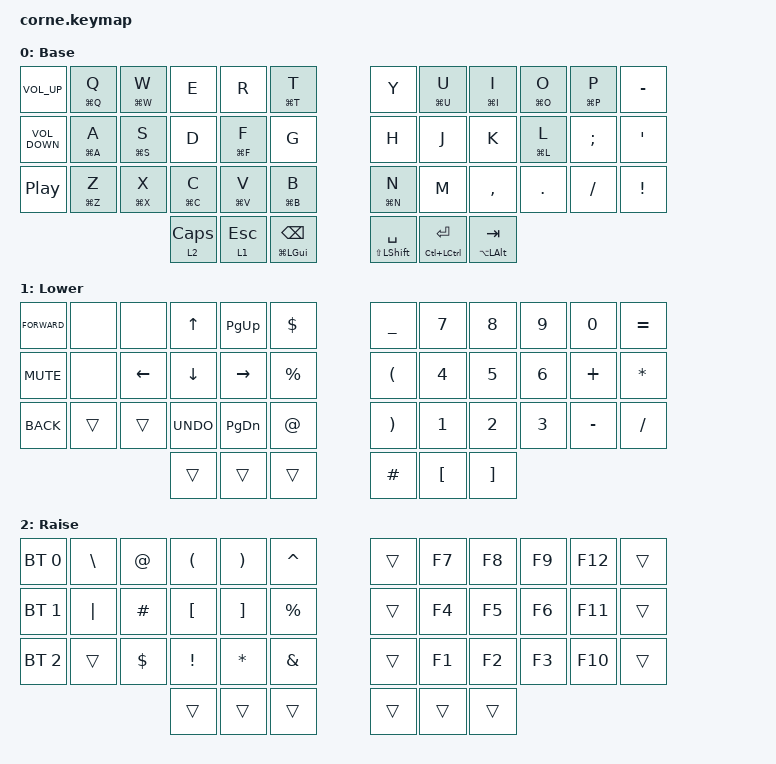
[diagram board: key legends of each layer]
#include <behaviors.dtsi>
#include <dt-bindings/zmk/bt.h>
#include <dt-bindings/zmk/keys.h>

/ {
    behaviors {
        longpress: longpress {
            compatible = "zmk,behavior-hold-tap";
            label = "LONGPRESS";
            bindings = <&kp>, <&kp>;

            #binding-cells = <2>;
            tapping-term-ms = <500>;
            flavor = "tap-preferred";
        };
    };

    keymap {
        compatible = "zmk,keymap";

        default_layer {
            display-name = "Base";
            bindings = <
&kp C_VOLUME_UP    &mt LG(Q) Q  &mt LG(W) W  &kp E        &kp R         &mt LG(T) T                   &kp Y                            &mt LG(U) U                 &mt LG(I) I           &mt LG(O) O  &mt LG(P) P  &kp MINUS
&kp C_VOLUME_DOWN  &mt LG(A) A  &mt LG(S) S  &kp D        &mt LG(F) F   &kp G                         &kp H                            &kp J                       &kp K                 &mt LG(L) L  &kp SEMI     &kp SQT
&kp C_PLAY_PAUSE   &mt LG(Z) Z  &mt LG(X) X  &mt LG(C) C  &mt LG(V) V   &mt LG(B) B                   &mt LG(N) N                      &kp M                       &kp COMMA             &kp DOT      &kp FSLH     &kp EXCLAMATION
                                             &lt 2 CAPS   &lt 1 ESCAPE  &mt LG(LEFT_GUI) BACKSPACE    &longpress LS(LEFT_SHIFT) SPACE  &mt LC(LEFT_CONTROL) ENTER  &mt LA(LEFT_ALT) TAB
            >;
        };

        lower_layer {
            display-name = "Lower";
            bindings = <
&kp K_FORWARD  &none   &none           &kp UP_ARROW  &kp PAGE_UP    &kp DLLR       &kp UNDER              &kp N7            &kp N8             &kp N9        &kp N0     &kp EQUAL
&kp K_MUTE     &none   &kp LEFT_ARROW  &kp DOWN      &kp RIGHT      &kp PERCENT    &kp LEFT_PARENTHESIS   &kp NUMBER_4      &kp NUMBER_5       &kp NUMBER_6  &kp PLUS   &kp ASTERISK
&kp K_BACK     &trans  &trans          &kp K_UNDO    &kp PAGE_DOWN  &kp AT         &kp RIGHT_PARENTHESIS  &kp N1            &kp NUMBER_2       &kp NUMBER_3  &kp MINUS  &kp SLASH
                                       &trans        &trans         &trans         &kp HASH               &kp LEFT_BRACKET  &kp RIGHT_BRACKET
            >;
        };

        raise_layer {
            display-name = "Raise";
            bindings = <
&bt BT_SEL 0  &kp BACKSLASH  &kp AT      &kp LEFT_PARENTHESIS  &kp RIGHT_PARENTHESIS  &kp CARET        &trans  &kp F7  &kp F8  &kp F9  &kp F12  &trans
&bt BT_SEL 1  &kp PIPE       &kp HASH    &kp LEFT_BRACKET      &kp RIGHT_BRACKET      &kp PERCENT      &trans  &kp F4  &kp F5  &kp F6  &kp F11  &trans
&bt BT_SEL 2  &trans         &kp DOLLAR  &kp EXCLAMATION       &kp ASTERISK           &kp AMPERSAND    &trans  &kp F1  &kp F2  &kp F3  &kp F10  &trans
                                         &trans                &trans                 &trans           &trans  &trans  &trans
            >;
        };

        extra_1 { status = "reserved"; };

        extra_2 { status = "reserved"; };

        extra_3 { status = "reserved"; };
    };
};
